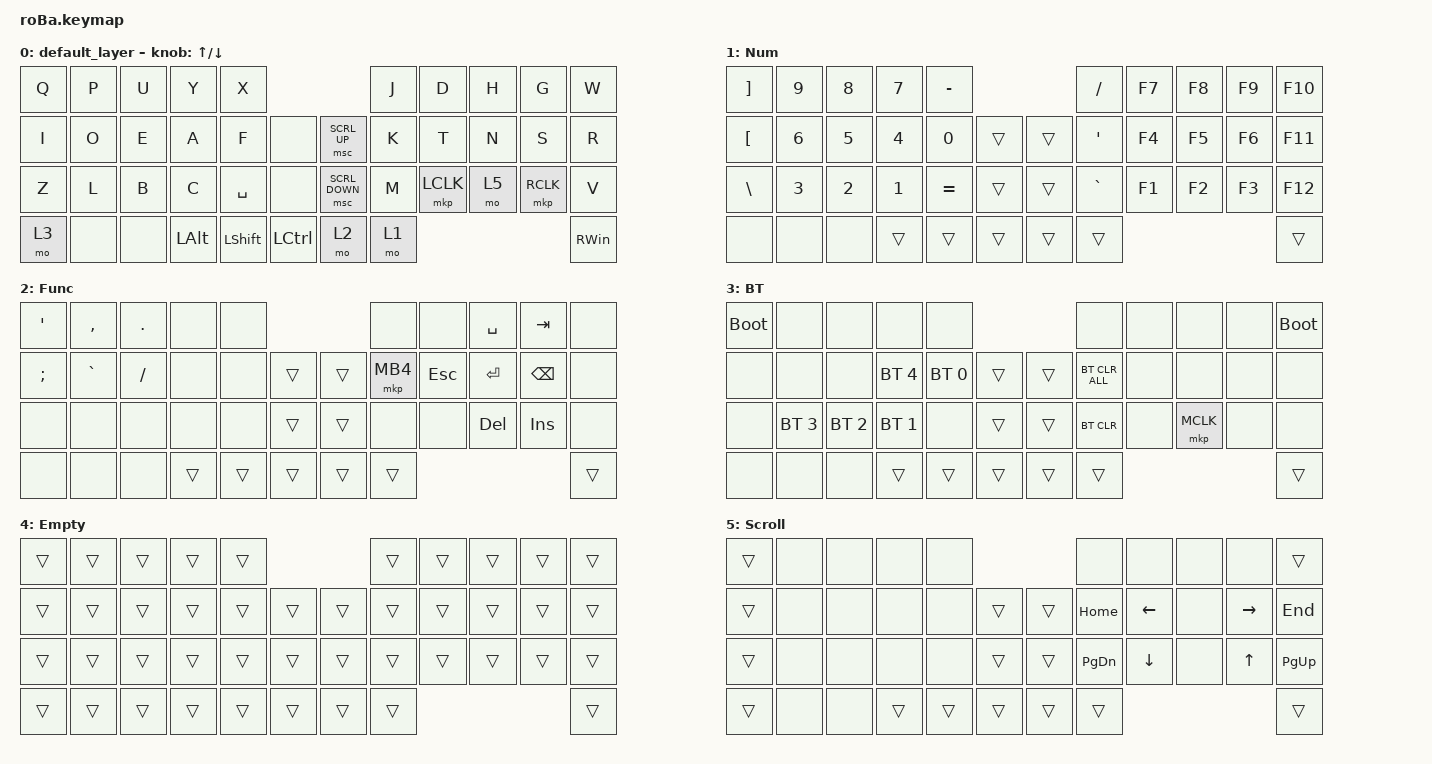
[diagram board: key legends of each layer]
#include <behaviors.dtsi>
#include <dt-bindings/zmk/bt.h>
#include <dt-bindings/zmk/keys.h>
#include <dt-bindings/zmk/pointing.h>

&mt {
    flavor = "balanced";
    quick-tap-ms = <0>;
};

&trackball {
    automouse-layer = <4>;
    scroll-layers = <5>;

    // arrows {
    //     layers = <3>;
    //     bindings =
    //         <&kp RIGHT_ARROW>,
    //         <&kp LEFT_ARROW>,
    //         <&kp UP_ARROW>,
    //         <&kp DOWN_ARROW>;
    //     tick = <10>;
    //     wait-ms = <5>;
    //     tap-ms = <5>;
    // };
};

/ {
    combos {
        compatible = "zmk,combos";

        cmbEnter {
            bindings = <&kp ENTER>;
            key-positions = <18 19>;
        };

        cmbBS {
            bindings = <&kp BACKSPACE>;
            key-positions = <19 20>;
        };

        cmbESC {
            bindings = <&kp ESC>;
            key-positions = <18 20>;
        };

        cmbMinus {
            bindings = <&kp MINUS>;
            key-positions = <6 7>;
        };

        cmbEqual {
            bindings = <&kp EQUAL>;
            key-positions = <7 8>;
        };

        cmbM4 {
            bindings = <&mkp MB4>;
            key-positions = <6 8>;
        };

        cmbAlpha {
            bindings = <&kp LANG2>;
            key-positions = <3 2>;
        };

        cmbJpn {
            bindings = <&kp LANGUAGE_1>;
            key-positions = <2 1>;
        };

        cmpPrintScreen {
            bindings = <&kp PRINTSCREEN>;
            key-positions = <1 3>;
        };

        cmbTab {
            bindings = <&kp TAB>;
            key-positions = <17 18>;
        };

        cmbDel {
            bindings = <&kp DEL>;
            key-positions = <13 14>;
        };

        cmbDot {
            bindings = <&kp DOT>;
            key-positions = <13 12>;
        };

        cmpComma {
            bindings = <&kp COMMA>;
            key-positions = <12 11>;
        };

        cmbSemiColon {
            bindings = <&kp SEMI>;
            key-positions = <11 13>;
        };

        cmbRctrl {
            bindings = <&kp RCTRL>;
            key-positions = <6 18>;
        };

        cmbRshift1 {
            bindings = <&kp RIGHT_SHIFT>;
            key-positions = <7 19>;
        };

        cmbRMo1 {
            bindings = <&mo 1>;
            key-positions = <8 20>;
        };

        cmbRalt {
            bindings = <&kp RIGHT_ALT>;
            key-positions = <18 30>;
        };

        cmbRshift2 {
            bindings = <&kp RIGHT_SHIFT>;
            key-positions = <19 31>;
        };

        cmbRgui {
            bindings = <&kp RGUI>;
            key-positions = <20 32>;
        };

        cmbLctrl {
            bindings = <&kp LCTRL>;
            key-positions = <3 13>;
        };

        cmbLshift1 {
            bindings = <&kp LEFT_SHIFT>;
            key-positions = <2 12>;
        };

        cmbLmo1 {
            bindings = <&mo 1>;
            key-positions = <11 1>;
        };

        cmbLalt {
            bindings = <&kp RIGHT_ALT>;
            key-positions = <13 25>;
        };

        cmbLshift2 {
            bindings = <&kp LEFT_SHIFT>;
            key-positions = <12 24>;
        };

        cmbLgui {
            bindings = <&kp LEFT_GUI>;
            key-positions = <11 23>;
        };

        cmbMouseScrollUp2 {
            bindings = <&msc SCRL_UP>;
            key-positions = <31 30>;
        };

        cmbMouseScrollDown2 {
            bindings = <&msc SCRL_DOWN>;
            key-positions = <31 32>;
        };

        cmbM4_2 {
            bindings = <&mkp MB4>;
            key-positions = <30 32>;
        };

        cmbSlash {
            bindings = <&kp SLASH>;
            key-positions = <25 24>;
        };

        cmbApos {
            bindings = <&kp SQT>;
            key-positions = <24 23>;
        };

        cmbTilde {
            bindings = <&kp GRAVE>;
            key-positions = <25 23>;
        };
    };

    macros {
        to_layer_0: to_layer_0 {
            compatible = "zmk,behavior-macro-one-param";
            #binding-cells = <1>;
            bindings = <&to 0 &macro_param_1to1 &kp MACRO_PLACEHOLDER>;
            label = "TO_LAYER_0";
        };
    };

    behaviors {
        lt_to_layer_0: lt_to_layer_0 {
            compatible = "zmk,behavior-hold-tap";
            label = "LAYER_TAP_TO_0";
            bindings = <&mo>, <&to_layer_0>;

            #binding-cells = <2>;
            tapping-term-ms = <200>;
        };
    };

    keymap {
        compatible = "zmk,keymap";

        default_layer {
            bindings = <
&kp Q  &kp P  &kp U  &kp Y         &kp X                                          &kp J  &kp D      &kp H  &kp G      &kp W
&kp I  &kp O  &kp E  &kp A         &kp F           &none          &msc SCRL_UP    &kp K  &kp T      &kp N  &kp S      &kp R
&kp Z  &kp L  &kp B  &kp C         &kp SPACE       &none          &msc SCRL_DOWN  &kp M  &mkp LCLK  &mo 5  &mkp RCLK  &kp V
&mo 3  &none  &none  &kp LEFT_ALT  &kp LEFT_SHIFT  &kp LCTRL      &mo 2           &mo 1                               &kp RIGHT_WIN
            >;

            sensor-bindings = <&inc_dec_kp UP DOWN>;
        };

        Num {
            bindings = <
&kp RIGHT_BRACKET  &kp NUMBER_9  &kp NUMBER_8  &kp NUMBER_7  &kp MINUS                         &kp SLASH  &kp F7  &kp F8  &kp F9  &kp F10
&kp LEFT_BRACKET   &kp NUMBER_6  &kp NUMBER_5  &kp NUMBER_4  &kp NUMBER_0  &trans      &trans  &kp SQT    &kp F4  &kp F5  &kp F6  &kp F11
&kp BACKSLASH      &kp NUMBER_3  &kp NUMBER_2  &kp NUMBER_1  &kp EQUAL     &trans      &trans  &kp GRAVE  &kp F1  &kp F2  &kp F3  &kp F12
&none              &none         &none         &trans        &trans        &trans      &trans  &trans                             &trans
            >;
        };

        Func {
            bindings = <
&kp APOS  &kp COMMA  &kp PERIOD  &none   &none                       &none     &none       &kp SPACE   &kp TAB        &none
&kp SEMI  &kp GRAVE  &kp SLASH   &none   &none   &trans      &trans  &mkp MB4  &kp ESCAPE  &kp ENTER   &kp BACKSPACE  &none
&none     &none      &none       &none   &none   &trans      &trans  &none     &none       &kp DELETE  &kp INS        &none
&none     &none      &none       &trans  &trans  &trans      &trans  &trans                                           &trans
            >;
        };

        BT {
            bindings = <
&bootloader  &none         &none         &none         &none                             &none           &none  &none      &none  &bootloader
&none        &none         &none         &bt BT_SEL 4  &bt BT_SEL 0  &trans      &trans  &bt BT_CLR_ALL  &none  &none      &none  &none
&none        &bt BT_SEL 3  &bt BT_SEL 2  &bt BT_SEL 1  &none         &trans      &trans  &bt BT_CLR      &none  &mkp MCLK  &none  &none
&none        &none         &none         &trans        &trans        &trans      &trans  &trans                                   &trans
            >;
        };

        Empty {
            bindings = <
&trans  &trans  &trans  &trans  &trans                      &trans  &trans  &trans  &trans  &trans
&trans  &trans  &trans  &trans  &trans  &trans      &trans  &trans  &trans  &trans  &trans  &trans
&trans  &trans  &trans  &trans  &trans  &trans      &trans  &trans  &trans  &trans  &trans  &trans
&trans  &trans  &trans  &trans  &trans  &trans      &trans  &trans                          &trans
            >;
        };

        Scroll {
            bindings = <
&trans  &none  &none  &none   &none                       &none          &none           &none  &none         &trans
&trans  &none  &none  &none   &none   &trans      &trans  &kp HOME       &kp LEFT        &none  &kp RIGHT     &kp END
&trans  &none  &none  &none   &none   &trans      &trans  &kp PAGE_DOWN  &kp DOWN_ARROW  &none  &kp UP_ARROW  &kp PAGE_UP
&trans  &none  &none  &trans  &trans  &trans      &trans  &trans                                              &trans
            >;
        };
    };
};
